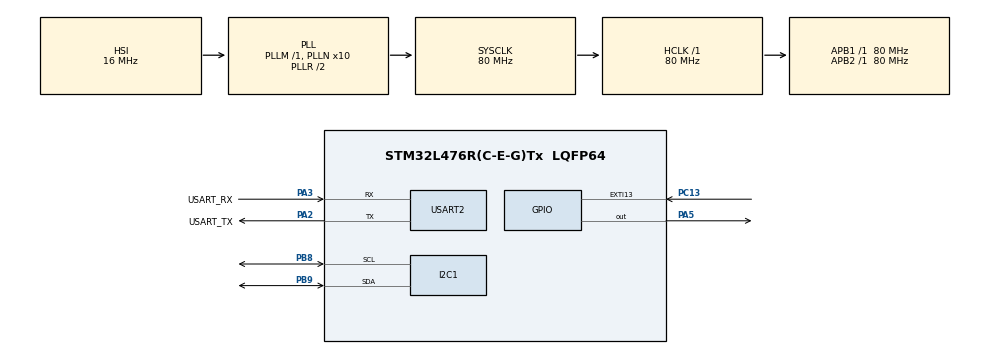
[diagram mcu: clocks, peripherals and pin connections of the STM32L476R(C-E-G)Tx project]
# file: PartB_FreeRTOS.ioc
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FREERTOS.Tasks01=defaultTask,24,128,StartDefaultTask,Default,NULL,Dynamic,NULL,NULL
I2C1.Timing=0x10D19CE4
Mcu.Family=STM32L4
Mcu.Name=STM32L476R(C-E-G)Tx
Mcu.Package=LQFP64
NUCLEO-L476RG.BUTTON=1
NUCLEO-L476RG.LD2=true
NVIC.EXTI15_10_IRQn=true\:5\:0\:false\:false\:true\:true\:false\:true\:true
NVIC.PriorityGroup=NVIC_PRIORITYGROUP_4
NVIC.TIM6_DAC_IRQn=true\:15\:0\:false\:false\:true\:false\:false\:true\:true
NVIC.TimeBase=TIM6_DAC_IRQn
NVIC.TimeBaseIP=TIM6
PA13\ (JTMS-SWDIO).GPIO_Label=TMS
PA13\ (JTMS-SWDIO).Signal=SYS_JTMS-SWDIO
PA14\ (JTCK-SWCLK).GPIO_Label=TCK
PA14\ (JTCK-SWCLK).Signal=SYS_JTCK-SWCLK
PA2.GPIO_Label=USART_TX
PA2.GPIO_Mode=GPIO_MODE_AF_PP
PA2.GPIO_PuPd=GPIO_NOPULL
PA2.GPIO_Speed=GPIO_SPEED_FREQ_VERY_HIGH
PA2.Mode=Asynchronous
PA2.Signal=USART2_TX
PA3.GPIO_Label=USART_RX
PA3.GPIO_Mode=GPIO_MODE_AF_PP
PA3.GPIO_PuPd=GPIO_NOPULL
PA3.GPIO_Speed=GPIO_SPEED_FREQ_VERY_HIGH
PA3.Mode=Asynchronous
PA3.Signal=USART2_RX
PA5.Signal=GPIO_Output
PB3\ (JTDO-TRACESWO).GPIO_Label=SWO
PB3\ (JTDO-TRACESWO).Signal=SYS_JTDO-SWO
PB8.Mode=I2C
PB8.Signal=I2C1_SCL
PB9.Mode=I2C
PB9.Signal=I2C1_SDA
PC13.Signal=GPXTI13
PC14-OSC32_IN\ (PC14).Signal=RCC_OSC32_IN
PC15-OSC32_OUT\ (PC15).Signal=RCC_OSC32_OUT
PH0-OSC_IN\ (PH0).Signal=RCC_OSC_IN
PH1-OSC_OUT\ (PH1).Signal=RCC_OSC_OUT
ProjectManager.HeapSize=0x200
ProjectManager.StackSize=0x400
ProjectManager.TargetToolchain=CMake
RCC.ADCFreq_Value=64000000
RCC.AHBFreq_Value=80000000
RCC.APB1Freq_Value=80000000
RCC.APB1TimFreq_Value=80000000
RCC.APB2Freq_Value=80000000
RCC.APB2TimFreq_Value=80000000
RCC.CortexFreq_Value=80000000
RCC.HCLKFreq_Value=80000000
RCC.HSE_VALUE=8000000
RCC.HSI_VALUE=16000000
RCC.LSE_VALUE=32768
RCC.MSI_VALUE=4000000
RCC.PLLN=10
RCC.PLLSourceVirtual=RCC_PLLSOURCE_HSI
RCC.PREFETCH_ENABLE=1
RCC.SYSCLKFreq_VALUE=80000000
RCC.SYSCLKSource=RCC_SYSCLKSOURCE_PLLCLK
RCC.USBFreq_Value=64000000
RCC.VCOOutputFreq_Value=160000000
USART2.VirtualMode-Asynchronous=VM_ASYNC
VP_FREERTOS_VS_CMSIS_V2.Mode=CMSIS_V2
VP_NUCLEO-L476RG_VS_BSP_COMMON.Mode=COMMON
VP_SYS_VS_tim6.Mode=TIM6
board=NUCLEO-L476RG

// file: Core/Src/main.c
/* USER CODE BEGIN Header */
/**
  ******************************************************************************
  * @file           : main.c
  * @brief          : Main program body
  ******************************************************************************
  * @attention
  *
  * Copyright (c) 2026 STMicroelectronics.
  * All rights reserved.
  *
  * This software is licensed under terms that can be found in the LICENSE file
  * in the root directory of this software component.
  * If no LICENSE file comes with this software, it is provided AS-IS.
  *
  ******************************************************************************
  */
/* USER CODE END Header */
#include "main.h"
#include "cmsis_os.h"

/* USER CODE BEGIN Includes */
#include "FreeRTOS.h"
#include "task.h"
#include "stdio.h"
#include "string.h"
/* USER CODE END Includes */

/* USER CODE BEGIN PD */
#define TMP3_ADDR 0x48 << 1 // I2C address of TMP3 sensor
#define REG_TEMP 0x00      // Register address for temperature data
#define TMP3_RESOLUTION 0.0625f // Temperature resolution in °C/bit

/* USER CODE END PD */

I2C_HandleTypeDef hi2c1;

UART_HandleTypeDef huart2;

/* Definitions for defaultTask */
osThreadId_t defaultTaskHandle;
const osThreadAttr_t defaultTask_attributes = {
  .name = "defaultTask",
  .stack_size = 128 * 4,
  .priority = (osPriority_t) osPriorityNormal,
};

void SystemClock_Config(void);
static void MX_GPIO_Init(void);
static void MX_I2C1_Init(void);
static void MX_USART2_UART_Init(void);
void StartDefaultTask(void *argument);

/* USER CODE BEGIN PFP */
float TEMP3_ReadTemp(void);
void SensorReadTask(void *argument);
/* USER CODE END PFP */

int main(void)
{

  /* MCU Configuration--------------------------------------------------------*/

  /* Reset of all peripherals, Initializes the Flash interface and the Systick. */
  HAL_Init();

  /* Configure the system clock */
  SystemClock_Config();

  /* Initialize all configured peripherals */
  MX_GPIO_Init();
  MX_I2C1_Init();
  MX_USART2_UART_Init();

  /* Init scheduler */
  osKernelInitialize();

  /* Create the thread(s) */
  /* creation of defaultTask */
  defaultTaskHandle = osThreadNew(StartDefaultTask, NULL, &defaultTask_attributes);

  /* USER CODE BEGIN RTOS_THREADS */
  /* add threads, ... */
  xTaskCreate(SensorReadTask, "SensorReadTask", 128, NULL, 1, NULL);
  /* USER CODE END RTOS_THREADS */

  /* Initialize leds */
  BSP_LED_Init(LED_GREEN);

  /* Initialize USER push-button, will be used to trigger an interrupt each time it's pressed.*/
  BSP_PB_Init(BUTTON_USER, BUTTON_MODE_EXTI);

  /* Start scheduler */
  osKernelStart();

  /* We should never get here as control is now taken by the scheduler */

  /* Infinite loop */
  while (1)
  {

  }
}

void SystemClock_Config(void)
{
  RCC_OscInitTypeDef RCC_OscInitStruct = {0};
  RCC_ClkInitTypeDef RCC_ClkInitStruct = {0};

  /** Configure the main internal regulator output voltage
  */
  if (HAL_PWREx_ControlVoltageScaling(PWR_REGULATOR_VOLTAGE_SCALE1) != HAL_OK)
  {
    Error_Handler();
  }

  /** Initializes the RCC Oscillators according to the specified parameters
  * in the RCC_OscInitTypeDef structure.
  */
  RCC_OscInitStruct.OscillatorType = RCC_OSCILLATORTYPE_HSI;
  RCC_OscInitStruct.HSIState = RCC_HSI_ON;
  RCC_OscInitStruct.HSICalibrationValue = RCC_HSICALIBRATION_DEFAULT;
  RCC_OscInitStruct.PLL.PLLState = RCC_PLL_ON;
  RCC_OscInitStruct.PLL.PLLSource = RCC_PLLSOURCE_HSI;
  RCC_OscInitStruct.PLL.PLLM = 1;
  RCC_OscInitStruct.PLL.PLLN = 10;
  RCC_OscInitStruct.PLL.PLLP = RCC_PLLP_DIV7;
  RCC_OscInitStruct.PLL.PLLQ = RCC_PLLQ_DIV2;
  RCC_OscInitStruct.PLL.PLLR = RCC_PLLR_DIV2;
  if (HAL_RCC_OscConfig(&RCC_OscInitStruct) != HAL_OK)
  {
    Error_Handler();
  }

  /** Initializes the CPU, AHB and APB buses clocks
  */
  RCC_ClkInitStruct.ClockType = RCC_CLOCKTYPE_HCLK|RCC_CLOCKTYPE_SYSCLK
                              |RCC_CLOCKTYPE_PCLK1|RCC_CLOCKTYPE_PCLK2;
  RCC_ClkInitStruct.SYSCLKSource = RCC_SYSCLKSOURCE_PLLCLK;
  RCC_ClkInitStruct.AHBCLKDivider = RCC_SYSCLK_DIV1;
  RCC_ClkInitStruct.APB1CLKDivider = RCC_HCLK_DIV1;
  RCC_ClkInitStruct.APB2CLKDivider = RCC_HCLK_DIV1;

  if (HAL_RCC_ClockConfig(&RCC_ClkInitStruct, FLASH_LATENCY_4) != HAL_OK)
  {
    Error_Handler();
  }
}

static void MX_I2C1_Init(void)
{

  hi2c1.Instance = I2C1;
  hi2c1.Init.Timing = 0x10D19CE4;
  hi2c1.Init.OwnAddress1 = 0;
  hi2c1.Init.AddressingMode = I2C_ADDRESSINGMODE_7BIT;
  hi2c1.Init.DualAddressMode = I2C_DUALADDRESS_DISABLE;
  hi2c1.Init.OwnAddress2 = 0;
  hi2c1.Init.OwnAddress2Masks = I2C_OA2_NOMASK;
  hi2c1.Init.GeneralCallMode = I2C_GENERALCALL_DISABLE;
  hi2c1.Init.NoStretchMode = I2C_NOSTRETCH_DISABLE;
  if (HAL_I2C_Init(&hi2c1) != HAL_OK)
  {
    Error_Handler();
  }

  /** Configure Analogue filter
  */
  if (HAL_I2CEx_ConfigAnalogFilter(&hi2c1, I2C_ANALOGFILTER_ENABLE) != HAL_OK)
  {
    Error_Handler();
  }

  /** Configure Digital filter
  */
  if (HAL_I2CEx_ConfigDigitalFilter(&hi2c1, 0) != HAL_OK)
  {
    Error_Handler();
  }

}

static void MX_USART2_UART_Init(void)
{

  huart2.Instance = USART2;
  huart2.Init.BaudRate = 115200;
  huart2.Init.WordLength = UART_WORDLENGTH_8B;
  huart2.Init.StopBits = UART_STOPBITS_1;
  huart2.Init.Parity = UART_PARITY_NONE;
  huart2.Init.Mode = UART_MODE_TX_RX;
  huart2.Init.HwFlowCtl = UART_HWCONTROL_NONE;
  huart2.Init.OverSampling = UART_OVERSAMPLING_16;
  huart2.Init.OneBitSampling = UART_ONE_BIT_SAMPLE_DISABLE;
  huart2.AdvancedInit.AdvFeatureInit = UART_ADVFEATURE_NO_INIT;
  if (HAL_UART_Init(&huart2) != HAL_OK)
  {
    Error_Handler();
  }

}

static void MX_GPIO_Init(void)
{

  /* GPIO Ports Clock Enable */
  __HAL_RCC_GPIOC_CLK_ENABLE();
  __HAL_RCC_GPIOH_CLK_ENABLE();
  __HAL_RCC_GPIOA_CLK_ENABLE();
  __HAL_RCC_GPIOB_CLK_ENABLE();

}

/* USER CODE BEGIN 4 */
float TEMP3_ReadTemp(void)

{

  HAL_StatusTypeDef ret;

  uint8_t buf[2];

  int16_t val;

  float temp_c;

  // Specify which register is to be read
  buf[0] = REG_TEMP;
  ret = HAL_I2C_Master_Transmit(&hi2c1,TMP3_ADDR,buf,1,HAL_MAX_DELAY);

  if (ret != HAL_OK)

  {
    return -999.0f;
    // communication error with sensor
  }

  // Read two bytes from the temperature register
  ret = HAL_I2C_Master_Receive(&hi2c1,

                               TMP3_ADDR,

                               buf,

                               2,

                               HAL_MAX_DELAY);

  if (ret != HAL_OK)
  {
    return -999.0f;
  }

  /* TODO:
  Convert the bytes read into absolute values and print */
  // combine the bytes into val
  val = (uint16_t)buf[0] << 8 | buf[1];
  // Convert the sensor output into absolute values using temperature resolution(°C / bit)
  temp_c = val/256.0f;

  return temp_c;
}

void SensorReadTask(void *argument)
{
  float temperature;
  char buffer[50];
  for(;;)
  {
    temperature = TEMP3_ReadTemp();
    sprintf(buffer, "Temperature: %.2f C\r\n", temperature);
    HAL_UART_Transmit(&huart2, (uint8_t*)buffer, strlen(buffer), HAL_MAX_DELAY);
    vTaskDelay(pdMS_TO_TICKS(1000)); // Block for 1 second
  }
}
/* USER CODE END 4 */

void StartDefaultTask(void *argument)
{
  for(;;)
  {
    osDelay(1);
  }
}

void HAL_TIM_PeriodElapsedCallback(TIM_HandleTypeDef *htim)
{
  if (htim->Instance == TIM6)
  {
    HAL_IncTick();
  }
}

void Error_Handler(void)
{
  __disable_irq();
  while (1)
  {
  }
}
